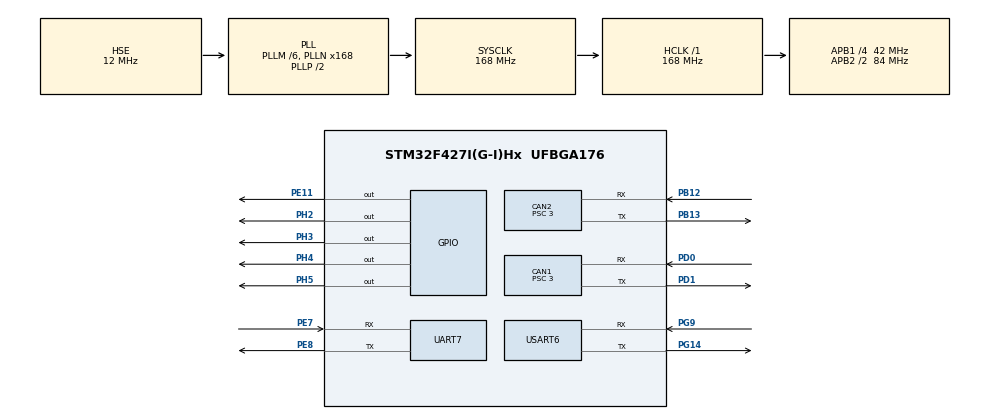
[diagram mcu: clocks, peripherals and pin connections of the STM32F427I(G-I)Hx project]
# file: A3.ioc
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CAN1.BS1=CAN_BS1_6TQ
CAN1.BS2=CAN_BS2_7TQ
CAN1.CalculateBaudRate=1000000
CAN1.CalculateTimeBit=999.99
CAN1.CalculateTimeQuantum=71.42857142857143
CAN1.Prescaler=3
CAN2.BS1=CAN_BS1_6TQ
CAN2.BS2=CAN_BS2_7TQ
CAN2.CalculateBaudRate=1000000
CAN2.CalculateTimeBit=999.99
CAN2.CalculateTimeQuantum=71.42857142857143
CAN2.Prescaler=3
Dma.Request0=USART6_RX
Dma.Request1=USART6_TX
Dma.Request2=UART7_RX
Dma.Request3=UART7_TX
Dma.UART7_RX.2.Direction=DMA_PERIPH_TO_MEMORY
Dma.UART7_RX.2.FIFOMode=DMA_FIFOMODE_DISABLE
Dma.UART7_RX.2.Instance=DMA1_Stream3
Dma.UART7_RX.2.MemDataAlignment=DMA_MDATAALIGN_BYTE
Dma.UART7_RX.2.MemInc=DMA_MINC_ENABLE
Dma.UART7_RX.2.Mode=DMA_NORMAL
Dma.UART7_RX.2.PeriphDataAlignment=DMA_PDATAALIGN_BYTE
Dma.UART7_RX.2.PeriphInc=DMA_PINC_DISABLE
Dma.UART7_RX.2.Priority=DMA_PRIORITY_LOW
Dma.UART7_TX.3.Direction=DMA_MEMORY_TO_PERIPH
Dma.UART7_TX.3.FIFOMode=DMA_FIFOMODE_DISABLE
Dma.UART7_TX.3.Instance=DMA1_Stream1
Dma.UART7_TX.3.MemDataAlignment=DMA_MDATAALIGN_BYTE
Dma.UART7_TX.3.MemInc=DMA_MINC_ENABLE
Dma.UART7_TX.3.Mode=DMA_NORMAL
Dma.UART7_TX.3.PeriphDataAlignment=DMA_PDATAALIGN_BYTE
Dma.UART7_TX.3.PeriphInc=DMA_PINC_DISABLE
Dma.UART7_TX.3.Priority=DMA_PRIORITY_LOW
Dma.USART6_RX.0.Direction=DMA_PERIPH_TO_MEMORY
Dma.USART6_RX.0.FIFOMode=DMA_FIFOMODE_DISABLE
Dma.USART6_RX.0.Instance=DMA2_Stream1
Dma.USART6_RX.0.MemDataAlignment=DMA_MDATAALIGN_BYTE
Dma.USART6_RX.0.MemInc=DMA_MINC_ENABLE
Dma.USART6_RX.0.Mode=DMA_NORMAL
Dma.USART6_RX.0.PeriphDataAlignment=DMA_PDATAALIGN_BYTE
Dma.USART6_RX.0.PeriphInc=DMA_PINC_DISABLE
Dma.USART6_RX.0.Priority=DMA_PRIORITY_LOW
Dma.USART6_TX.1.Direction=DMA_MEMORY_TO_PERIPH
Dma.USART6_TX.1.FIFOMode=DMA_FIFOMODE_DISABLE
Dma.USART6_TX.1.Instance=DMA2_Stream6
Dma.USART6_TX.1.MemDataAlignment=DMA_MDATAALIGN_BYTE
Dma.USART6_TX.1.MemInc=DMA_MINC_ENABLE
Dma.USART6_TX.1.Mode=DMA_NORMAL
Dma.USART6_TX.1.PeriphDataAlignment=DMA_PDATAALIGN_BYTE
Dma.USART6_TX.1.PeriphInc=DMA_PINC_DISABLE
Dma.USART6_TX.1.Priority=DMA_PRIORITY_LOW
Mcu.Family=STM32F4
Mcu.Name=STM32F427I(G-I)Hx
Mcu.Package=UFBGA176
NVIC.CAN1_RX0_IRQn=true\:1\:0\:true\:false\:true\:true\:true
NVIC.CAN1_TX_IRQn=true\:1\:0\:true\:false\:true\:true\:true
NVIC.CAN2_RX0_IRQn=true\:1\:0\:true\:false\:true\:true\:true
NVIC.CAN2_TX_IRQn=true\:1\:0\:true\:false\:true\:true\:true
NVIC.DMA1_Stream1_IRQn=true\:0\:0\:false\:false\:true\:false\:true
NVIC.DMA1_Stream3_IRQn=true\:0\:0\:false\:false\:true\:false\:true
NVIC.DMA2_Stream1_IRQn=true\:0\:0\:false\:false\:true\:false\:true
NVIC.DMA2_Stream6_IRQn=true\:0\:0\:false\:false\:true\:false\:true
NVIC.PriorityGroup=NVIC_PRIORITYGROUP_4
NVIC.UART7_IRQn=true\:0\:0\:false\:false\:true\:true\:true
NVIC.USART6_IRQn=true\:0\:0\:true\:false\:true\:true\:true
PA13.Mode=JTAG_5_pins
PA13.Signal=SYS_JTMS-SWDIO
PA14.Mode=JTAG_5_pins
PA14.Signal=SYS_JTCK-SWCLK
PA15.Mode=JTAG_5_pins
PA15.Signal=SYS_JTDI
PB12.Mode=CAN_Activate
PB12.Signal=CAN2_RX
PB13.Mode=CAN_Activate
PB13.Signal=CAN2_TX
PB3.Mode=JTAG_5_pins
PB3.Signal=SYS_JTDO-SWO
PB4.Mode=JTAG_5_pins
PB4.Signal=SYS_JTRST
PD0.Mode=CAN_Activate
PD0.Signal=CAN1_RX
PD1.Mode=CAN_Activate
PD1.Signal=CAN1_TX
PE11.Signal=GPIO_Output
PE7.Mode=Asynchronous
PE7.Signal=UART7_RX
PE8.Mode=Asynchronous
PE8.Signal=UART7_TX
PG14.Mode=Asynchronous
PG14.Signal=USART6_TX
PG9.Mode=Asynchronous
PG9.Signal=USART6_RX
PH0/OSC_IN.Mode=HSE-External-Oscillator
PH0/OSC_IN.Signal=RCC_OSC_IN
PH1/OSC_OUT.Mode=HSE-External-Oscillator
PH1/OSC_OUT.Signal=RCC_OSC_OUT
PH2.GPIO_PuPd=GPIO_PULLUP
PH2.PinState=GPIO_PIN_SET
PH2.Signal=GPIO_Output
PH3.GPIO_PuPd=GPIO_PULLUP
PH3.PinState=GPIO_PIN_SET
PH3.Signal=GPIO_Output
PH4.GPIO_PuPd=GPIO_PULLUP
PH4.PinState=GPIO_PIN_SET
PH4.Signal=GPIO_Output
PH5.GPIO_PuPd=GPIO_PULLUP
PH5.PinState=GPIO_PIN_SET
PH5.Signal=GPIO_Output
ProjectManager.HeapSize=0x200
ProjectManager.StackSize=0x400
ProjectManager.TargetToolchain=MDK-ARM V5.32
RCC.48MHZClocksFreq_Value=84000000
RCC.AHBFreq_Value=168000000
RCC.APB1CLKDivider=RCC_HCLK_DIV4
RCC.APB1Freq_Value=42000000
RCC.APB1TimFreq_Value=84000000
RCC.APB2CLKDivider=RCC_HCLK_DIV2
RCC.APB2Freq_Value=84000000
RCC.APB2TimFreq_Value=168000000
RCC.CortexFreq_Value=168000000
RCC.HCLKFreq_Value=168000000
RCC.HSE_VALUE=12000000
RCC.HSI_VALUE=16000000
RCC.LSE_VALUE=32768
RCC.PLLM=6
RCC.PLLN=168
RCC.PLLSourceVirtual=RCC_PLLSOURCE_HSE
RCC.SYSCLKFreq_VALUE=168000000
RCC.SYSCLKSource=RCC_SYSCLKSOURCE_PLLCLK
RCC.VCOOutputFreq_Value=336000000
UART7.VirtualMode=Asynchronous
USART6.VirtualMode=VM_ASYNC
board=custom

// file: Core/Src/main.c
/* USER CODE BEGIN Header */
/**
 ******************************************************************************
 * @file           : main.c
 * @brief          : Main program body
 ******************************************************************************
 * @attention
 *
 * <h2><center>&copy; Copyright (c) 2022 STMicroelectronics.
 * All rights reserved.</center></h2>
 *
 * This software component is licensed by ST under BSD 3-Clause license,
 * the "License"; You may not use this file except in compliance with the
 * License. You may obtain a copy of the License at:
 *                        opensource.org/licenses/BSD-3-Clause
 *
 ******************************************************************************
 */
/* USER CODE END Header */
#include "main.h"
#include "can.h"
#include "dma.h"
#include "usart.h"
#include "gpio.h"

/* USER CODE BEGIN Includes */
#include "pid_config.h"
#include "rotate.h"
/* USER CODE END Includes */

void SystemClock_Config(void);

/* USER CODE BEGIN 0 */
	/* �۲���� */
	int32_t tarangle;
    int16_t tarspeed;
	float continuous_angle;
	int16_t output;
	int16_t speed;
/* USER CODE END 0 */

int main(void)
{

  /* MCU Configuration--------------------------------------------------------*/

  /* Reset of all peripherals, Initializes the Flash interface and the Systick. */
  HAL_Init();

  /* Configure the system clock */
  SystemClock_Config();

  /* Initialize all configured peripherals */
  MX_GPIO_Init();
  MX_CAN1_Init();
  MX_CAN2_Init();
  MX_DMA_Init();
  MX_USART6_UART_Init();
  MX_UART7_Init();
  /* USER CODE BEGIN 2 */
  can1_filterinit();
  can2_filterinit();
  pid_set();
  HAL_UART_Receive_IT(&huart6, &rx_state, sizeof(rx_state));
  /* USER CODE END 2 */

  /* Infinite loop */
  while (1) {

    /* USER CODE BEGIN 3 */
//	continuous_angle = motor_2006[5].rx_data.continuous_angle;
//	speed = motor_2006[5].rx_data.speed;
//	tarangle = motor_2006[5].tarangle;
//	tarspeed = motor_2006[5].tarspeed;
//	output = motor_2006[5].output;
      for (int i = 0; i < 9; i++) {
          direction_set(&flag[i], &angle_data[i], &motor_2006[i]);
          data_process(&angle_data[i], &motor_2006[i]);
      }
	  output_transmit();
  }
  /* USER CODE END 3 */
}

void SystemClock_Config(void)
{
  RCC_OscInitTypeDef RCC_OscInitStruct = {0};
  RCC_ClkInitTypeDef RCC_ClkInitStruct = {0};

  /** Configure the main internal regulator output voltage
  */
  __HAL_RCC_PWR_CLK_ENABLE();
  __HAL_PWR_VOLTAGESCALING_CONFIG(PWR_REGULATOR_VOLTAGE_SCALE1);
  /** Initializes the RCC Oscillators according to the specified parameters
  * in the RCC_OscInitTypeDef structure.
  */
  RCC_OscInitStruct.OscillatorType = RCC_OSCILLATORTYPE_HSE;
  RCC_OscInitStruct.HSEState = RCC_HSE_ON;
  RCC_OscInitStruct.PLL.PLLState = RCC_PLL_ON;
  RCC_OscInitStruct.PLL.PLLSource = RCC_PLLSOURCE_HSE;
  RCC_OscInitStruct.PLL.PLLM = 6;
  RCC_OscInitStruct.PLL.PLLN = 168;
  RCC_OscInitStruct.PLL.PLLP = RCC_PLLP_DIV2;
  RCC_OscInitStruct.PLL.PLLQ = 4;
  if (HAL_RCC_OscConfig(&RCC_OscInitStruct) != HAL_OK)
  {
    Error_Handler();
  }
  /** Initializes the CPU, AHB and APB buses clocks
  */
  RCC_ClkInitStruct.ClockType = RCC_CLOCKTYPE_HCLK|RCC_CLOCKTYPE_SYSCLK
                              |RCC_CLOCKTYPE_PCLK1|RCC_CLOCKTYPE_PCLK2;
  RCC_ClkInitStruct.SYSCLKSource = RCC_SYSCLKSOURCE_PLLCLK;
  RCC_ClkInitStruct.AHBCLKDivider = RCC_SYSCLK_DIV1;
  RCC_ClkInitStruct.APB1CLKDivider = RCC_HCLK_DIV4;
  RCC_ClkInitStruct.APB2CLKDivider = RCC_HCLK_DIV2;

  if (HAL_RCC_ClockConfig(&RCC_ClkInitStruct, FLASH_LATENCY_5) != HAL_OK)
  {
    Error_Handler();
  }
}

void Error_Handler(void)
{
  /* USER CODE BEGIN Error_Handler_Debug */
    /* User can add his own implementation to report the HAL error return state
     */
    __disable_irq();
    while (1) {
    }
  /* USER CODE END Error_Handler_Debug */
}

#ifdef  USE_FULL_ASSERT
/**
  * @brief  Reports the name of the source file and the source line number
  *         where the assert_param error has occurred.
  * @param  file: pointer to the source file name
  * @param  line: assert_param error line source number
  * @retval None
  */
void assert_failed(uint8_t *file, uint32_t line)
{
  /* USER CODE BEGIN 6 */
    /* User can add his own implementation to report the file name and line
       number, ex: printf("Wrong parameters value: file %s on line %d\r\n",
       file, line) */
  /* USER CODE END 6 */
}
#endif /* USE_FULL_ASSERT */

/************************ (C) COPYRIGHT STMicroelectronics *****END OF FILE****/
